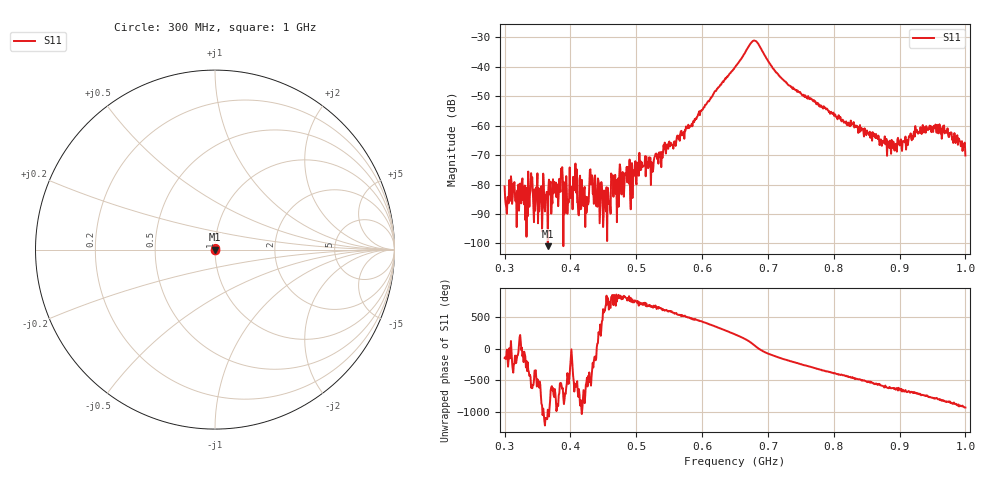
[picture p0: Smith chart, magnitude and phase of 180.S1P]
! C:\Users\rflab\Downloads\q2\180.S1P
! Touchstone 1.1 file saved by VNA.EXE V1.65 (www.ke5fx.com/gpib/readme.htm)
! 11/20/2024 11:12:21 AM
!  Source: HEWLETT PACKARD,8753D,0,6.14
!  Min freq: 3.000000E+008 Hz
!  Max freq: 1.000000E+009 Hz
!  Points: 801
!  Params: S21
# GHZ S MA R 50
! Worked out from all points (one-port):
!   801 points, 300 MHz to 1 GHz, reference 50 ohm
!   lowest |S11| = -100.9 dB at 365.6 MHz (marker M1), VSWR 1.00, Z = 50 + j0.000798 ohm
!   |S11| at or under -10 dB: start of sweep to end of sweep
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0.3  9.3e-05 -142.7
0.3385  6.8e-05 -50.5
0.365625  9e-06 117.5
0.3875  0.000197 87.4
0.3945  7.8e-05 171.4
0.411125  5e-05 37.2
0.425125  3.9e-05 -96.2
0.433  0.000143 33.7
0.4575  7.2e-05 57.8
0.475  0.00022 87.1
0.48025  0.000107 92.7
0.486375  0.000109 49.0
0.49425  5.9e-05 66.3
0.50475  0.000345 23.9
0.524  0.000228 -40.3
0.531  0.000334 -85.3
0.5625  0.000678 -173.4
0.65  0.009768 -128.5
0.680625  0.0274 48.0
0.710375  0.008485 -113.8
0.7375  0.004192 155.7
0.825  0.000976 -81.5
0.883625  0.0005 96.9
0.9125  0.000466 39.4
0.92475  0.000846 25.0
0.958  0.001004 -77.2
0.986875  0.000641 -158.1
1  0.00031 150.6
